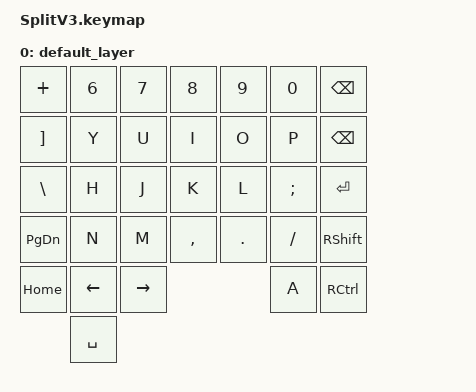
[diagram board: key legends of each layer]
#include <behaviors.dtsi>
#include <dt-bindings/zmk/keys.h>
#include <dt-bindings/zmk/bt.h>

#define DEFAULT 0

/ {
        keymap {
                compatible = "zmk,keymap";

                default_layer {
// -----------------------------------------------------------------------------------------
// |  ESC |  1  |  2  |  3  |  4  |  5  |  -  |   |  +  |  6  |  7   |  8  |  9  |  0  | BSPC |
// |  TAB |  Q  |  W  |  E  |  R  |  T  |LBRKT|   |RBRKT|  Y  |  U   |  I  |  O  |  P  |  DEL |
// | CAPS |  A  |  S  |  D  |  F  |  G  | APOS|   | SLSH|  H  |  J   |  K  |  L  | CLN |  ENT |
// | LSHFT|  Z  |  X  |  C  |  V  |  B  | PGUP|   | PGDN|  N  |  M   |  ,  |  .  |  /  | RSHFT|
// | CTRL | WIN |           |  UP | DWN | ALT |   | HME | LFT | RGHT |           |  FN | CTRL |
//                                | SPC |               | SPC |   
                        bindings = <
//   &kp ESC    &kp N1    &kp N2  &kp N3  &kp N4  &kp N5     &kp MINUS       &kp PLUS   &kp N6     &kp N7     &kp N8     &kp N9   &kp N0    &kp BSPC
//   &kp TAB    &kp Q     &kp W   &kp E   &kp R   &kp T      &kp LBKT        &kp RBKT   &kp Y      &kp U      &kp I      &kp O    &kp P     &kp BSPC
//   &kp CAPS   &kp A     &kp S   &kp D   &kp F   &kp G      &kp APOS        &kp BSLH   &kp H      &kp J      &kp K      &kp L    &kp SEMI  &kp RET
//   &kp LSHFT  &kp Z     &kp X   &kp C   &kp V   &kp B      &kp PG_UP       &kp PG_DN  &kp N      &kp M      &kp COMMA  &kp DOT  &kp FSLH  &kp RSHFT
//   &kp LCTRL  &kp LGUI                  &kp UP  &kp DOWN   &kp LALT        &kp HOME   &kp LEFT   &kp RIGHT                      &kp A     &kp RCTRL
//                                                &kp SPACE                             &kp SPACE

&kp PLUS   &kp N6     &kp N7     &kp N8     &kp N9   &kp N0    &kp BSPC
&kp RBKT   &kp Y      &kp U      &kp I      &kp O    &kp P     &kp BSPC
&kp BSLH   &kp H      &kp J      &kp K      &kp L    &kp SEMI  &kp RET
&kp PG_DN  &kp N      &kp M      &kp COMMA  &kp DOT  &kp FSLH  &kp RSHFT
&kp HOME   &kp LEFT   &kp RIGHT                      &kp A     &kp RCTRL
           &kp SPACE
                        >; 
                };
        };
};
